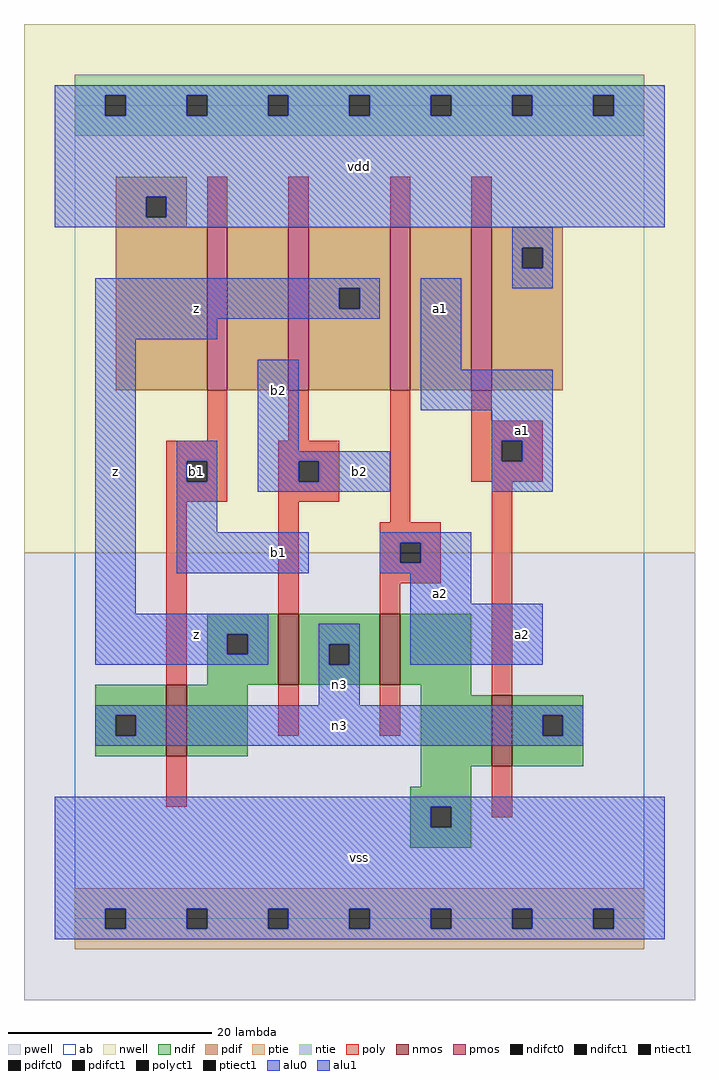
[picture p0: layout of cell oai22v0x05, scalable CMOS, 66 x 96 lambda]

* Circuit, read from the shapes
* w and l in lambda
.subckt oai22v0x05 a1 a2 b1 b2 n3 vdd vss z
M1 z b1 n3 vss nfet w=7 l=2
M2 n3 b2 z vss nfet w=7 l=2
M3 vss a2 n3 vss nfet w=7 l=2
M4 n3 a1 vss vss nfet w=7 l=2
M5 n1 b1 vdd vdd pfet w=16 l=2
M6 z b2 n1 vdd pfet w=16 l=2
M7 n2 a2 z vdd pfet w=16 l=2
M8 vdd a1 n2 vdd pfet w=16 l=2
.ends

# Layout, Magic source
magic
tech scmos
<< ab >>
rect 0 0 56 80
<< nwell >>
rect -5 36 61 88
<< pwell >>
rect -5 -8 61 36
<< poly >>
rect 13 68 15 73
rect 21 68 23 73
rect 31 68 33 73
rect 39 68 41 73
rect 13 47 15 52
rect 21 47 23 52
rect 9 45 15 47
rect 9 43 11 45
rect 13 43 15 45
rect 9 41 15 43
rect 20 45 26 47
rect 20 43 22 45
rect 24 43 26 45
rect 20 41 26 43
rect 9 23 11 41
rect 20 30 22 41
rect 31 39 33 52
rect 39 49 41 52
rect 39 47 46 49
rect 39 45 42 47
rect 44 45 46 47
rect 39 43 46 45
rect 30 37 36 39
rect 30 35 32 37
rect 34 35 36 37
rect 30 33 36 35
rect 30 30 32 33
rect 20 18 22 23
rect 30 18 32 23
rect 41 22 43 43
rect 9 11 11 16
rect 41 10 43 15
<< ndif >>
rect 13 28 20 30
rect 13 26 15 28
rect 17 26 20 28
rect 13 23 20 26
rect 22 27 30 30
rect 22 25 25 27
rect 27 25 30 27
rect 22 23 30 25
rect 32 23 39 30
rect 2 20 9 23
rect 2 18 4 20
rect 6 18 9 20
rect 2 16 9 18
rect 11 16 17 23
rect 34 22 39 23
rect 34 15 41 22
rect 43 20 50 22
rect 43 18 46 20
rect 48 18 50 20
rect 43 15 50 18
rect 34 13 39 15
rect 33 11 39 13
rect 33 9 35 11
rect 37 9 39 11
rect 33 7 39 9
<< pdif >>
rect 4 71 11 73
rect 4 69 7 71
rect 9 69 11 71
rect 4 68 11 69
rect 4 52 13 68
rect 15 52 21 68
rect 23 62 31 68
rect 23 60 26 62
rect 28 60 31 62
rect 23 52 31 60
rect 33 52 39 68
rect 41 66 48 68
rect 41 64 44 66
rect 46 64 48 66
rect 41 52 48 64
<< alu1 >>
rect -2 81 58 82
rect -2 79 3 81
rect 5 79 11 81
rect 13 79 19 81
rect 21 79 27 81
rect 29 79 35 81
rect 37 79 43 81
rect 45 79 51 81
rect 53 79 58 81
rect -2 71 58 79
rect -2 69 7 71
rect 9 69 58 71
rect -2 68 58 69
rect 2 62 30 63
rect 2 60 26 62
rect 28 60 30 62
rect 2 59 30 60
rect 2 57 14 59
rect 2 30 6 57
rect 10 45 14 47
rect 10 43 11 45
rect 13 43 14 45
rect 10 38 14 43
rect 18 46 22 55
rect 34 54 38 63
rect 34 50 47 54
rect 41 47 47 50
rect 18 45 31 46
rect 18 43 22 45
rect 24 43 31 45
rect 18 42 31 43
rect 41 45 42 47
rect 44 45 47 47
rect 41 42 47 45
rect 10 34 23 38
rect 30 37 39 38
rect 30 35 32 37
rect 34 35 39 37
rect 30 34 39 35
rect 33 31 39 34
rect 2 28 19 30
rect 2 26 15 28
rect 17 26 19 28
rect 2 25 19 26
rect 33 25 46 31
rect -2 11 58 12
rect -2 9 35 11
rect 37 9 58 11
rect -2 1 58 9
rect -2 -1 3 1
rect 5 -1 11 1
rect 13 -1 19 1
rect 21 -1 27 1
rect 29 -1 35 1
rect 37 -1 43 1
rect 45 -1 51 1
rect 53 -1 58 1
rect -2 -2 58 -1
<< ptie >>
rect 0 1 56 3
rect 0 -1 3 1
rect 5 -1 11 1
rect 13 -1 19 1
rect 21 -1 27 1
rect 29 -1 35 1
rect 37 -1 43 1
rect 45 -1 51 1
rect 53 -1 56 1
rect 0 -3 56 -1
<< ntie >>
rect 0 81 56 83
rect 0 79 3 81
rect 5 79 11 81
rect 13 79 19 81
rect 21 79 27 81
rect 29 79 35 81
rect 37 79 43 81
rect 45 79 51 81
rect 53 79 56 81
rect 0 77 56 79
<< nmos >>
rect 20 23 22 30
rect 30 23 32 30
rect 9 16 11 23
rect 41 15 43 22
<< pmos >>
rect 13 52 15 68
rect 21 52 23 68
rect 31 52 33 68
rect 39 52 41 68
<< polyct1 >>
rect 11 43 13 45
rect 22 43 24 45
rect 42 45 44 47
rect 32 35 34 37
<< ndifct0 >>
rect 25 25 27 27
rect 4 18 6 20
rect 46 18 48 20
<< ndifct1 >>
rect 15 26 17 28
rect 35 9 37 11
<< ntiect1 >>
rect 3 79 5 81
rect 11 79 13 81
rect 19 79 21 81
rect 27 79 29 81
rect 35 79 37 81
rect 43 79 45 81
rect 51 79 53 81
<< ptiect1 >>
rect 3 -1 5 1
rect 11 -1 13 1
rect 19 -1 21 1
rect 27 -1 29 1
rect 35 -1 37 1
rect 43 -1 45 1
rect 51 -1 53 1
<< pdifct0 >>
rect 44 64 46 66
<< pdifct1 >>
rect 7 69 9 71
rect 26 60 28 62
<< alu0 >>
rect 43 66 47 68
rect 43 64 44 66
rect 46 64 47 66
rect 43 62 47 64
rect 24 27 28 29
rect 24 25 25 27
rect 27 25 28 27
rect 24 21 28 25
rect 2 20 50 21
rect 2 18 4 20
rect 6 18 46 20
rect 48 18 50 20
rect 2 17 50 18
<< labels >>
rlabel alu0 26 23 26 23 6 n3
rlabel alu0 26 19 26 19 6 n3
rlabel alu1 4 44 4 44 6 z
rlabel alu1 12 28 12 28 6 z
rlabel alu1 20 36 20 36 6 b1
rlabel polyct1 12 44 12 44 6 b1
rlabel alu1 20 52 20 52 6 b2
rlabel alu1 12 60 12 60 6 z
rlabel alu1 28 6 28 6 6 vss
rlabel alu1 36 32 36 32 6 a2
rlabel alu1 28 44 28 44 6 b2
rlabel alu1 36 60 36 60 6 a1
rlabel alu1 28 74 28 74 6 vdd
rlabel alu1 44 28 44 28 6 a2
rlabel alu1 44 48 44 48 6 a1
<< end >>
